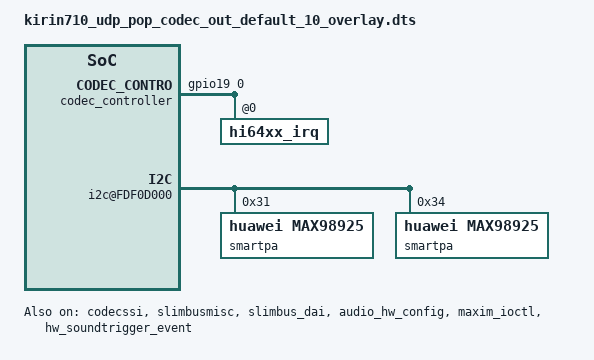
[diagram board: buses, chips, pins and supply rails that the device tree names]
/**
 * Copyright (C) 2014 Hisilicon Ltd.
 *
 *  This program is free software; you can redistribute it and/or modify
 *  it under the terms of the GNU General Public License version 2 as
 *  publishhed by the Free Software Foundation.
 */

/dts-v1/;
/plugin/;
/include/ "kirin710_udp_default_overlay.dtsi"
/include/ "kirin710_udp_pop_codec_out_default_10_pin.dtsi"
/include/ "kirin710_udp_pop_codec_out_default_10_modem_pin.dtsi"

/ {
    board_id = <7010>;
};

	&rootparam{
		hisi,boardid = <7 0 1 0>;
		hisi,boardname = "kirin710_udp_pop_codec_out_default_10";
		hisi,product_id = <0x38F5FC00>;
	};
	/* audio device be */
	&codec_controller {
		gpios = <&gpio19 0 0>; /* GPIO_152 */
		gpio_reset = <151>; /* GPIO_18_7*/
		gpio_codec_ssi = <204>;
		gpio_codec_ssi_func = <1>;
		gpio_ssi_mux = <16>; /* Chicago only */
		status = "ok";

		hi64xx_irq@0 {
			status = "ok";

			hi6402_codec@0{
				hisilicon,mic_num = <2>;
				status = "disabled";
			};

			hi6403_codec@0{
				hisilicon,mic_num = <2>;
				status = "ok";
			};

			gpio@0{
				status = "disabled";
			};

			gpio@1{
				status = "disabled";
			};

			gpio@2{
				status = "disabled";
			};

			gpio@3{
				status = "disabled";
			};

			hi6402_pinctrl {
				status = "disabled";
			};
		};
	};

	&codec_stub {
		status = "disabled";
	};

	&codec_hi6555v2 {
		status = "disabled";
	};

	&sound_hi6555 {
		codec-handle = <&codec_stub>;
		status       = "disabled";
	};

	&codecssi {
		compatible = "hisilicon,codecssi";
		reg = <0x0 0xe82b9000 0x0 0x800>;
		status = "ok";
	};

	&sound_hi6403 {
		status = "ok";
	};

	&slimbusmisc {
		slimbusclk_io_driver = <0xc8>;
		slimbusdata_io_driver = <0xc3>;
		status = "ok";
	};

	&slimbus_dai {
		status = "ok";
	};

	&audio_hw_config {
		product_name = "kirin710excodec";
		spk_pa_name = "max98925";
		cust_name = "audio_custom";
		soc_name = "hi363x";
		codec_name = "hi6403";
		codec_version = "hissc_v2";
		codec_dsp_algo = "maxim|mad|anc";
		modem_sio_master = "false";
		ear_pa_name = "max98925";
		status = "ok";
		codec_stub = "false";
		direct_devices = "0x2000000C";
		audio_capability {
			bwe_ui_support = "false";
			bwe_support = "true";
			swb_support = "true";
			wnr_support = "false";
			nv_evs_support = "true";
			lvm_support = "false";
			dhf_support = "false";
			dual_smartpa_support = "true";
			spk_rcv_stereo_support = "true";
			soundtrigger_version = "2.0";
		};
	};

	&maxim_ioctl {
		status = "ok";
	};

	&amba {
		i2c@FDF0D000 {
			smartpa@31 {
				compatible = "huawei,max98925";
				smartpa_type = <0>; //left smartPA
				reg = <0x31>;
				gain = <0x14>;
				gain_incall = <0x14>; //spk's is same as gain
				iv_slot_change = <1>;
				status = "ok";
			};
			smartpa@34 {
				compatible = "huawei,max98925";
				smartpa_type = <1>; //right smartPA
				reg = <0x34>;
				gain = <0x34>;
				gain_incall = <0x36>;
				iv_slot_change = <0>;
				status = "ok";
			};
		};
	};

	&soundtrigger{
		status = "ok";
	};

	&hw_soundtrigger_event{
		status = "ok";
	};
